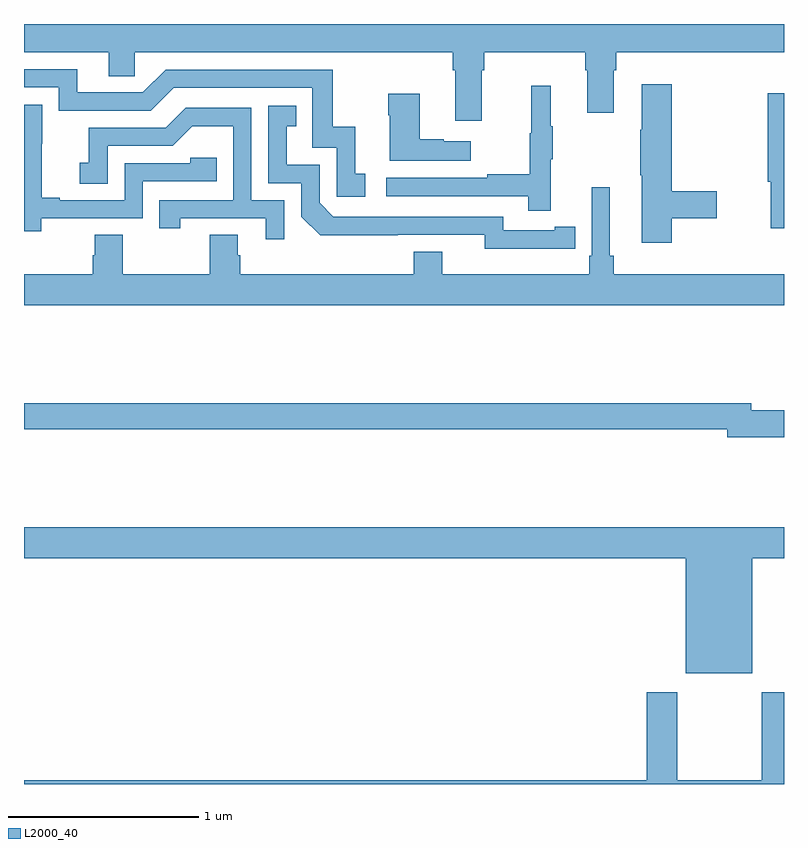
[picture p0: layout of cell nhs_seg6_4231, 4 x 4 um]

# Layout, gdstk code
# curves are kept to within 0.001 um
import gdstk
lib = gdstk.Library(unit=1e-6, precision=1e-09)
def P(c, l, *ps):  # polygons
    for p in ps: c.add(gdstk.Polygon(p, *l))
L2000_40 = (2000, 40)

nhs_seg6_4231 = lib.new_cell('nhs_seg6_4231')
P(nhs_seg6_4231, L2000_40, [(363.409,931.256),(363.422,931.256),(363.422,931.352),(363.953,931.352),(363.953,931.256),(363.965,931.256),(363.965,931.032),(364.105,931.032),(364.105,931.256),(364.118,931.256),(364.118,931.352),(365,931.352),(365,931.5),(361,931.5),(361,931.352),(361.445,931.352),(361.445,931.225),(361.584,931.225),(361.584,931.352),(363.257,931.352),(363.257,931.256),(363.269,931.256),(363.269,930.99),(363.409,930.99)],
  [(362.797,930.711),(362.744,930.711),(362.744,930.958),(362.626,930.958),(362.626,931.26),(361.746,931.26),(361.626,931.14),(361.279,931.14),(361.279,931.263),(361,931.263),(361,931.167),(361.182,931.167),(361.182,931.044),(361.668,931.044),(361.788,931.164),(362.517,931.164),(362.517,930.849),(362.646,930.849),(362.646,930.591),(362.797,930.591)],
  [(364.409,930.478),(364.645,930.478),(364.645,930.62),(364.409,930.62),(364.409,931.183),(364.25,931.183),(364.25,930.944),(364.243,930.944),(364.243,930.703),(364.25,930.703),(364.25,930.348),(364.409,930.348)],
  [(363.773,930.787),(363.784,930.787),(363.784,930.961),(363.773,930.961),(363.773,931.174),(363.67,931.174),(363.67,930.924),(363.663,930.924),(363.663,930.71),(363.439,930.71),(363.439,930.69),(362.907,930.69),(362.907,930.594),(363.655,930.594),(363.655,930.516),(363.773,930.516)],
  [(365,931.136),(364.915,931.136),(364.915,930.67),(364.93,930.67),(364.93,930.426),(365,930.426)],
  [(363.352,930.883),(363.209,930.883),(363.209,930.893),(363.082,930.893),(363.082,931.132),(362.917,931.132),(362.917,931.019),(362.924,931.019),(362.924,930.779),(363.352,930.779)],
  [(361.092,930.477),(361.626,930.477),(361.626,930.672),(362.015,930.672),(362.015,930.795),(361.875,930.795),(361.875,930.768),(361.53,930.768),(361.53,930.573),(361.189,930.573),(361.189,930.586),(361.094,930.586),(361.094,930.869),(361.095,930.869),(361.095,931.075),(361,931.075),(361,930.409),(361.092,930.409)],
  [(363.794,930.318),(363.902,930.318),(363.902,930.434),(363.794,930.434),(363.794,930.414),(363.522,930.414),(363.522,930.486),(362.628,930.486),(362.556,930.558),(362.556,930.759),(362.383,930.759),(362.383,930.963),(362.432,930.963),(362.432,931.069),(362.286,931.069),(362.286,930.663),(362.46,930.663),(362.46,930.486),(362.558,930.389),(363.426,930.39),(363.426,930.317)],
  [(362.37,930.573),(362.196,930.573),(362.196,931.059),(361.85,931.059),(361.745,930.954),(361.342,930.954),(361.342,930.769),(361.293,930.769),(361.293,930.66),(361.44,930.66),(361.44,930.858),(361.782,930.858),(361.886,930.962),(362.1,930.962),(362.1,930.573),(361.711,930.573),(361.711,930.426),(361.822,930.426),(361.822,930.477),(362.273,930.477),(362.273,930.366),(362.37,930.366)],
  [(365,930.184),(364.103,930.184),(364.103,930.28),(364.084,930.28),(364.084,930.64),(363.987,930.64),(363.987,930.28),(363.974,930.28),(363.974,930.184),(363.202,930.184),(363.202,930.301),(363.05,930.301),(363.05,930.184),(362.138,930.184),(362.138,930.282),(362.125,930.282),(362.125,930.392),(361.978,930.392),(361.978,930.184),(361.521,930.184),(361.521,930.392),(361.373,930.392),(361.373,930.282),(361.361,930.282),(361.361,930.184),(361,930.184),(361,930.02),(365,930.02)],
  [(365,929.468),(364.828,929.468),(364.828,929.504),(361,929.504),(361,929.368),(364.7,929.368),(364.7,929.326),(365,929.326)],
  [(364.834,928.688),(365,928.688),(365,928.852),(361,928.852),(361,928.688),(364.484,928.688),(364.484,928.082),(364.834,928.082)],
  [(365,927.982),(364.882,927.982),(364.882,927.52),(364.437,927.52),(364.437,927.982),(364.277,927.982),(364.277,927.52),(361,927.52),(361,927.5),(365,927.5)])

lib.write_gds('nhs_seg6_4231.gds')
